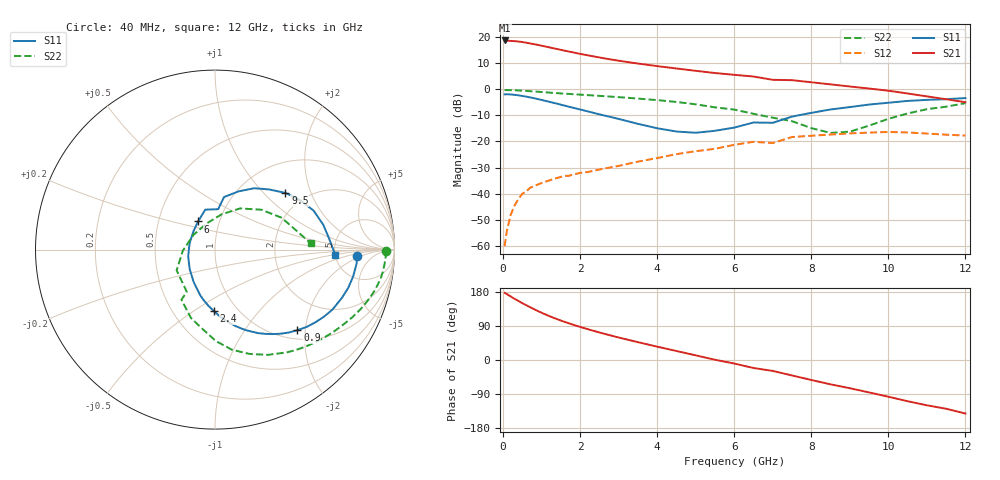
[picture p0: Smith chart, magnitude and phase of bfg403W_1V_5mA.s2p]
! Filename: 15bfg403.001
! BFG403W Field A2
! V1=9.050E-001V,V2=1.000E+000V, I1=8.704E-005A, I2=5.000E-003A
# GHz  S  MA  R 50
!  S11  S21  S12  S22
!Freq(GHz)  Mag  Ang  Mag  Ang  Mag  Ang  Mag  Ang
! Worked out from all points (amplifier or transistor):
!   44 points, 40 MHz to 12 GHz, reference 50 ohm
!   highest |S21| = 18.5 dB at 40 MHz (marker M1)
!   |S21| within 3 dB of that: start of sweep to 1.311 GHz
!   unconditionally stable (mu >= 1): start of sweep to 107.2 MHz; 1.202 GHz to end of sweep
!   at 700 MHz: K = 0.65, MSG = 27.5 dB, |S12| = -37.7 dB
!   at 2.4 GHz: K = 1.78, MAG = 16.5 dB, |S12| = -31.1 dB
!   at 12 GHz: K = 2.92, MAG = -1.2 dB, |S12| = -17.8 dB
!   S11 on the Smith chart (normalised r, x): 40 MHz: 8.22, -1.56; 900 MHz: 1.19, -1.82; 2.4 GHz: 0.78, -0.60; 6 GHz: 0.79, +0.26; 9.5 GHz: 1.59, +1.35; 12 GHz: 5.01, -0.50
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0.04  0.79 -2.6  8.425 177.1  0.001 30.5  0.95 -0.6
0.2  0.784 -11.1  8.26 167.6  0.004 81.4  0.948 -5.0
0.3  0.772 -16.1  8.163 161.2  0.006 78.4  0.943 -7.7
0.5  0.735 -27.0  7.86 149.9  0.01 71.5  0.927 -12.2
0.7  0.691 -35.9  7.392 139.4  0.013 66.7  0.907 -16.6
0.9  0.642 -44.4  6.934 129.3  0.015 62.4  0.885 -20.7
1.2  0.569 -55.8  6.222 115.9  0.018 57.7  0.853 -26.2
1.5  0.501 -65.8  5.572 104.1  0.021 54.8  0.822 -31.3
1.8  0.441 -75.0  5.015 93.7  0.023 53.1  0.796 -36.1
2.2  0.373 -85.9  4.383 81.3  0.026 52.2  0.762 -42.4
2.4  0.342 -91.1  4.115 75.5  0.028 52.1  0.746 -45.6
3  0.268 -107.8  3.46 59.4  0.034 51.1  0.698 -55.2
3.5  0.216 -123.5  3.054 47.1  0.041 49.2  0.656 -63.4
4.5  0.154 -165.9  2.458 23.7  0.057 41.6  0.565 -80.5
5.5  0.159 138.1  2.014 0.7  0.072 27.8  0.446 -99.2
6  0.183 120.9  1.862 -9.3  0.086 23.9  0.404 -109.4
6.5  0.229 103.7  1.726 -21.1  0.098 12.8  0.336 -123.8
7.5  0.297 80.2  1.472 -40.8  0.121 1.8  0.243 -151.6
8.5  0.406 57.4  1.223 -64.2  0.135 -21.0  0.145 145.2
9.5  0.504 38.8  1.019 -85.6  0.147 -41.9  0.2 79.4
10.5  0.591 21.5  0.819 -108.8  0.148 -66.6  0.341 40.7
12  0.67 -2.4  0.558 -141.3  0.129 -103.2  0.535 3.7
